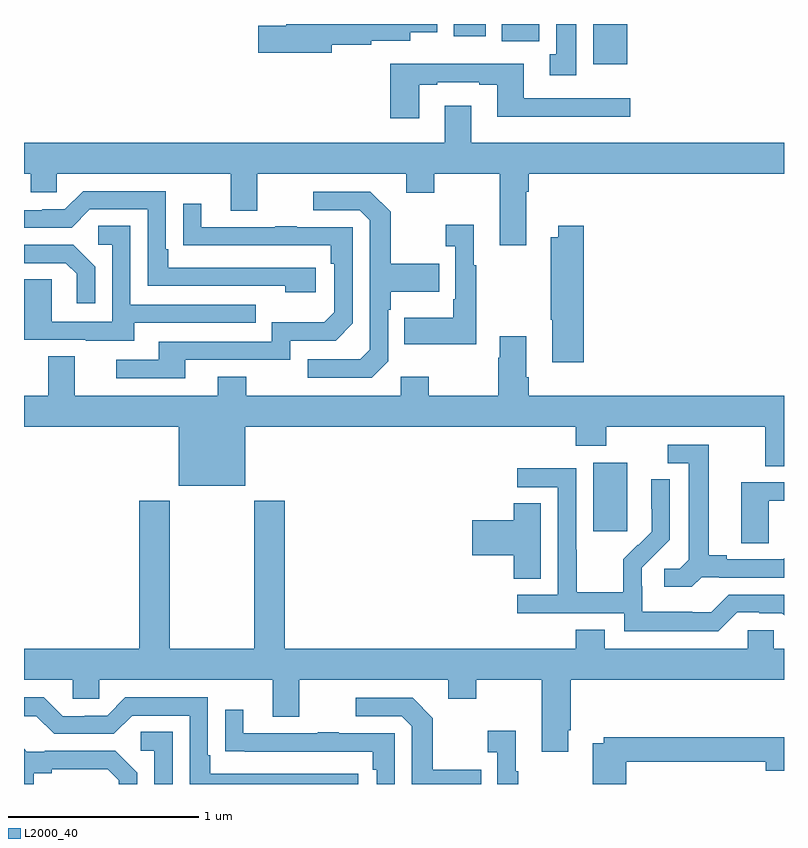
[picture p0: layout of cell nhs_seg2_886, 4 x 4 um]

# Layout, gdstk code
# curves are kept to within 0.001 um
import gdstk
lib = gdstk.Library(unit=1e-6, precision=1e-09)
def R(c, l, rs):  # rectangles x0, y0, x1, y1
    for r in rs: c.add(gdstk.rectangle(r[:2], r[2:], *l))
def P(c, l, *ps):  # polygons
    for p in ps: c.add(gdstk.Polygon(p, *l))
L2000_40 = (2000, 40)

nhs_seg2_886 = lib.new_cell('nhs_seg2_886')
R(nhs_seg2_886, L2000_40, [(159.995,603.129,160.174,603.49), (159.995,605.588,160.174,605.8), (159.515,605.708,159.712,605.8), (159.263,605.736,159.43,605.8)])
P(nhs_seg2_886, L2000_40, [(159.907,605.8),(159.8,605.8),(159.8,605.642),(159.767,605.642),(159.767,605.529),(159.907,605.529)],
  [(158.62,605.692),(158.828,605.692),(158.828,605.712),(159.034,605.712),(159.034,605.756),(159.175,605.756),(159.175,605.8),(158.381,605.8),(158.381,605.792),(158.232,605.792),(158.232,605.65),(158.62,605.65)],
  [(159.079,605.481),(159.175,605.481),(159.175,605.493),(159.395,605.493),(159.395,605.481),(159.491,605.481),(159.491,605.312),(160.192,605.312),(160.192,605.409),(159.631,605.409),(159.631,605.59),(158.927,605.59),(158.927,605.304),(159.079,605.304)],
  [(159.643,604.916),(159.656,604.916),(159.656,605.012),(161,605.012),(161,605.176),(159.355,605.176),(159.355,605.371),(159.215,605.371),(159.215,605.176),(157,605.176),(157,605.012),(157.035,605.012),(157.035,604.914),(157.173,604.914),(157.173,605.012),(158.087,605.012),(158.087,604.818),(158.227,604.818),(158.227,605.012),(159.011,605.012),(159.011,604.913),(159.159,604.913),(159.159,605.012),(159.503,605.012),(159.503,604.635),(159.643,604.635)],
  [(158.536,604.518),(157.759,604.518),(157.759,604.615),(157.746,604.615),(157.746,604.92),(157.311,604.92),(157.215,604.824),(157.097,604.824),(157.097,604.821),(157,604.821),(157,604.728),(157.251,604.728),(157.347,604.824),(157.65,604.824),(157.65,604.422),(158.375,604.422),(158.375,604.388),(158.536,604.388)],
  [(158.916,604.026),(158.916,604.295),(158.929,604.295),(158.929,604.391),(159.185,604.391),(159.185,604.539),(158.929,604.539),(158.929,604.811),(158.823,604.917),(158.523,604.917),(158.523,604.821),(158.766,604.821),(158.82,604.767),(158.82,604.086),(158.769,604.035),(158.493,604.035),(158.493,603.939),(158.829,603.939)],
  [(157.849,604.032),(158.4,604.032),(158.4,604.134),(158.64,604.134),(158.73,604.224),(158.73,604.731),(158.435,604.731),(158.435,604.736),(158.323,604.736),(158.323,604.731),(157.933,604.731),(157.933,604.855),(157.837,604.855),(157.837,604.636),(158.614,604.635),(158.614,604.538),(158.634,604.538),(158.634,604.284),(158.581,604.231),(158.304,604.231),(158.304,604.128),(157.709,604.128),(157.709,604.032),(157.485,604.032),(157.485,603.936),(157.849,603.936)],
  [(159.379,604.531),(159.367,604.531),(159.367,604.744),(159.219,604.744),(159.219,604.631),(159.27,604.631),(159.27,604.351),(159.258,604.351),(159.258,604.255),(159.001,604.255),(159.001,604.115),(159.379,604.115)],
  [(157.579,604.227),(158.219,604.227),(158.219,604.323),(157.56,604.323),(157.56,604.739),(157.392,604.739),(157.392,604.638),(157.464,604.638),(157.464,604.233),(157.146,604.233),(157.146,604.457),(157.001,604.457),(157.001,604.137),(157.325,604.137),(157.325,604.133),(157.579,604.133)],
  [(159.947,604.738),(159.812,604.738),(159.812,604.678),(159.772,604.678),(159.772,604.243),(159.779,604.243),(159.779,604.02),(159.947,604.02)],
  [(157.374,604.522),(157.258,604.638),(157,604.638),(157,604.542),(157.22,604.542),(157.277,604.485),(157.277,604.329),(157.374,604.329)],
  [(158.164,603.68),(159.905,603.68),(159.905,603.581),(160.065,603.581),(160.065,603.68),(160.901,603.68),(160.901,603.472),(161,603.472),(161,603.844),(159.656,603.844),(159.656,603.94),(159.643,603.94),(159.643,604.156),(159.503,604.156),(159.503,604.043),(159.496,604.043),(159.496,603.844),(159.129,603.844),(159.129,603.943),(158.982,603.943),(158.982,603.844),(158.169,603.844),(158.169,603.943),(158.021,603.943),(158.021,603.844),(157.267,603.844),(157.267,604.052),(157.127,604.052),(157.127,603.844),(157,603.844),(157,603.68),(157.814,603.68),(157.814,603.371),(158.164,603.371)],
  [(160.566,602.889),(160.66,602.889),(160.66,602.886),(161,602.886),(161,602.988),(160.994,602.982),(160.699,602.982),(160.699,603.005),(160.603,603.005),(160.603,603.585),(160.389,603.585),(160.389,603.489),(160.499,603.489),(160.499,602.981),(160.452,602.934),(160.371,602.934),(160.371,602.837),(160.514,602.837)],
  [(160.755,602.703),(160.871,602.703),(160.871,602.7),(160.989,602.7),(161,602.689),(161,602.796),(160.71,602.796),(160.617,602.703),(160.517,602.703),(160.517,602.707),(160.254,602.707),(160.254,602.841),(160.252,602.841),(160.252,602.938),(160.398,603.086),(160.398,603.404),(160.302,603.404),(160.302,603.25),(160.304,603.25),(160.304,603.128),(160.233,603.057),(160.23,603.06),(160.153,602.983),(160.153,602.809),(159.909,602.809),(159.909,603.032),(159.906,603.032),(159.906,603.462),(159.597,603.462),(159.597,603.363),(159.81,603.363),(159.81,602.796),(159.597,602.796),(159.597,602.7),(160.158,602.7),(160.158,602.603),(160.655,602.603)],
  [(160.92,603.291),(161,603.291),(161,603.387),(160.775,603.387),(160.775,603.067),(160.92,603.067)],
  [(158.372,603.292),(158.212,603.292),(158.212,602.512),(157.767,602.512),(157.767,603.292),(157.607,603.292),(157.607,602.512),(157,602.512),(157,602.348),(157.257,602.348),(157.257,602.25),(157.395,602.25),(157.395,602.348),(158.309,602.348),(158.309,602.154),(158.449,602.154),(158.449,602.348),(159.233,602.348),(159.233,602.249),(159.381,602.249),(159.381,602.348),(159.725,602.348),(159.725,601.971),(159.865,601.971),(159.865,602.083),(159.878,602.083),(159.878,602.348),(161,602.348),(161,602.512),(160.947,602.512),(160.947,602.61),(160.809,602.61),(160.809,602.512),(160.057,602.512),(160.057,602.611),(159.905,602.611),(159.905,602.512),(158.372,602.512)],
  [(159.721,603.278),(159.578,603.278),(159.578,603.188),(159.36,603.188),(159.36,603.005),(159.578,603.005),(159.578,602.881),(159.721,602.881)],
  [(158.758,601.854),(157.981,601.854),(157.981,601.951),(157.968,601.951),(157.968,602.256),(157.533,602.256),(157.437,602.16),(157.319,602.16),(157.319,602.157),(157.203,602.157),(157.103,602.257),(157,602.257),(157,602.157),(157.065,602.157),(157.158,602.064),(157.473,602.064),(157.569,602.16),(157.872,602.16),(157.872,601.8),(158.758,601.8)],
  [(159.407,601.875),(159.151,601.875),(159.151,602.147),(159.045,602.253),(158.745,602.253),(158.745,602.157),(158.988,602.157),(159.042,602.103),(159.042,601.8),(159.407,601.8)],
  [(158.952,602.067),(158.657,602.067),(158.657,602.072),(158.545,602.072),(158.545,602.067),(158.155,602.067),(158.155,602.191),(158.059,602.191),(158.059,601.972),(158.161,601.972),(158.161,601.971),(158.836,601.971),(158.836,601.874),(158.856,601.874),(158.856,601.8),(158.952,601.8)],
  [(159.601,601.867),(159.589,601.867),(159.589,602.08),(159.441,602.08),(159.441,601.967),(159.492,601.967),(159.492,601.8),(159.601,601.8)],
  [(157.782,602.075),(157.614,602.075),(157.614,601.974),(157.686,601.974),(157.686,601.8),(157.782,601.8)],
  [(160.169,601.918),(160.904,601.918),(160.904,601.871),(161,601.871),(161,602.047),(160.05,602.047),(160.05,602.014),(159.994,602.014),(159.994,601.8),(160.169,601.8)],
  [(157.051,601.856),(157.147,601.856),(157.147,601.878),(157.442,601.878),(157.499,601.821),(157.499,601.8),(157.596,601.8),(157.596,601.858),(157.48,601.974),(157.108,601.974),(157.108,601.971),(157.014,601.971),(157,601.985),(157,601.8),(157.051,601.8)])

lib.write_gds('nhs_seg2_886.gds')
